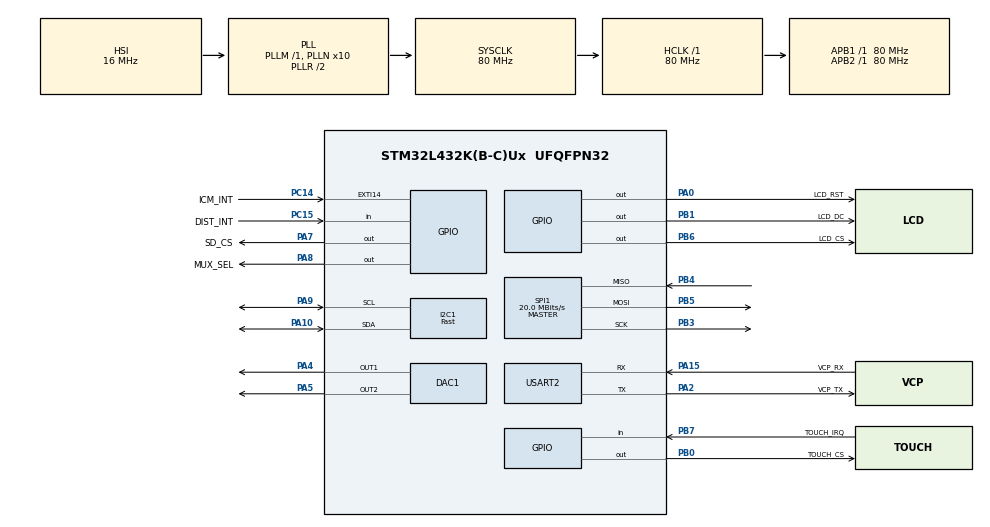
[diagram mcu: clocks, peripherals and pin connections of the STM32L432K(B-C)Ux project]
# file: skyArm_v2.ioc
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ADC1.Channel-0\#ChannelRegularConversion=ADC_CHANNEL_VREFINT
ADC1.ClockPrescaler=ADC_CLOCK_SYNC_PCLK_DIV4
ADC1.ContinuousConvMode=DISABLE
ADC1.DMAContinuousRequests=DISABLE
ADC1.DiscontinuousConvMode=DISABLE
ADC1.EOCSelection=ADC_EOC_SEQ_CONV
ADC1.NbrOfConversion=1
ADC1.NbrOfConversionFlag=1
ADC1.OffsetNumber-0\#ChannelRegularConversion=ADC_OFFSET_NONE
ADC1.Overrun=ADC_OVR_DATA_OVERWRITTEN
ADC1.OversamplingMode=DISABLE
ADC1.Rank-0\#ChannelRegularConversion=1
ADC1.Resolution=ADC_RESOLUTION_12B
ADC1.SamplingTime-0\#ChannelRegularConversion=ADC_SAMPLETIME_640CYCLES_5
ADC1.master=1
DAC1.DAC_Channel-DAC_OUT2=DAC_CHANNEL_2
Dma.ADC1.1.Direction=DMA_PERIPH_TO_MEMORY
Dma.ADC1.1.Instance=DMA1_Channel1
Dma.ADC1.1.MemDataAlignment=DMA_MDATAALIGN_WORD
Dma.ADC1.1.MemInc=DMA_MINC_ENABLE
Dma.ADC1.1.Mode=DMA_CIRCULAR
Dma.ADC1.1.PeriphDataAlignment=DMA_PDATAALIGN_WORD
Dma.ADC1.1.PeriphInc=DMA_PINC_DISABLE
Dma.ADC1.1.Priority=DMA_PRIORITY_LOW
Dma.Request0=SPI1_TX
Dma.Request1=ADC1
Dma.SPI1_TX.0.Direction=DMA_MEMORY_TO_PERIPH
Dma.SPI1_TX.0.Instance=DMA1_Channel3
Dma.SPI1_TX.0.MemDataAlignment=DMA_MDATAALIGN_BYTE
Dma.SPI1_TX.0.MemInc=DMA_MINC_ENABLE
Dma.SPI1_TX.0.Mode=DMA_NORMAL
Dma.SPI1_TX.0.PeriphDataAlignment=DMA_PDATAALIGN_BYTE
Dma.SPI1_TX.0.PeriphInc=DMA_PINC_DISABLE
Dma.SPI1_TX.0.Priority=DMA_PRIORITY_LOW
FATFS._FS_LOCK=5
I2C1.I2C_Speed_Mode=I2C_Fast
I2C1.Timing=0x00702991
Mcu.Family=STM32L4
Mcu.Name=STM32L432K(B-C)Ux
Mcu.Package=UFQFPN32
NVIC.ADC1_IRQn=true\:0\:0\:false\:false\:true\:true\:true\:true
NVIC.DMA1_Channel1_IRQn=true\:0\:0\:false\:false\:true\:false\:true\:true
NVIC.DMA1_Channel3_IRQn=true\:0\:0\:false\:false\:true\:false\:true\:true
NVIC.EXTI15_10_IRQn=true\:0\:0\:false\:false\:true\:true\:true\:true
NVIC.PriorityGroup=NVIC_PRIORITYGROUP_4
NVIC.SPI1_IRQn=true\:0\:0\:false\:false\:true\:true\:true\:true
NVIC.TIM1_UP_TIM16_IRQn=true\:0\:0\:false\:false\:true\:true\:true\:true
NVIC.TIM2_IRQn=true\:0\:0\:false\:false\:true\:true\:true\:true
PA0.GPIO_Label=LCD_RST
PA0.GPIO_PuPd=GPIO_PULLUP
PA0.GPIO_Speed=GPIO_SPEED_FREQ_VERY_HIGH
PA0.Signal=GPIO_Output
PA10.GPIO_Pu=GPIO_NOPULL
PA10.Mode=I2C
PA10.Signal=I2C1_SDA
PA13\ (JTMS-SWDIO).GPIO_Label=SWDIO
PA13\ (JTMS-SWDIO).Mode=Serial_Wire
PA13\ (JTMS-SWDIO).Signal=SYS_JTMS-SWDIO
PA14\ (JTCK-SWCLK).GPIO_Label=SWCLK
PA14\ (JTCK-SWCLK).Mode=Serial_Wire
PA14\ (JTCK-SWCLK).Signal=SYS_JTCK-SWCLK
PA15\ (JTDI).GPIO_Label=VCP_RX
PA15\ (JTDI).Mode=Asynchronous
PA15\ (JTDI).Signal=USART2_RX
PA2.GPIO_Label=VCP_TX
PA2.Mode=Asynchronous
PA2.Signal=USART2_TX
PA4.Signal=COMP_DAC11_group
PA5.Signal=COMP_DAC12_group
PA7.GPIO_Label=SD_CS
PA7.GPIO_PuPd=GPIO_PULLUP
PA7.GPIO_Speed=GPIO_SPEED_FREQ_VERY_HIGH
PA7.Signal=GPIO_Output
PA8.GPIO_Label=MUX_SEL
PA8.Signal=GPIO_Output
PA9.GPIO_Pu=GPIO_NOPULL
PA9.Mode=I2C
PA9.Signal=I2C1_SCL
PB0.GPIO_Label=TOUCH_CS
PB0.GPIO_PuPd=GPIO_PULLUP
PB0.GPIO_Speed=GPIO_SPEED_FREQ_VERY_HIGH
PB0.Signal=GPIO_Output
PB1.GPIO_Label=LCD_DC
PB1.GPIO_PuPd=GPIO_NOPULL
PB1.GPIO_Speed=GPIO_SPEED_FREQ_VERY_HIGH
PB1.Signal=GPIO_Output
PB3\ (JTDO-TRACESWO).GPIO_PuPd=GPIO_PULLUP
PB3\ (JTDO-TRACESWO).Mode=Full_Duplex_Master
PB3\ (JTDO-TRACESWO).Signal=SPI1_SCK
PB4\ (NJTRST).GPIO_PuPd=GPIO_PULLUP
PB4\ (NJTRST).Mode=Full_Duplex_Master
PB4\ (NJTRST).Signal=SPI1_MISO
PB5.GPIO_PuPd=GPIO_PULLUP
PB5.Mode=Full_Duplex_Master
PB5.Signal=SPI1_MOSI
PB6.GPIO_FM6=__NULL
PB6.GPIO_Label=LCD_CS
PB6.GPIO_PuPd=GPIO_PULLUP
PB6.GPIO_Speed=GPIO_SPEED_FREQ_VERY_HIGH
PB6.Signal=GPIO_Output
PB7.GPIO_Label=TOUCH_IRQ
PB7.Signal=GPIO_Input
PC14-OSC32_IN\ (PC14).GPIO_Label=ICM_INT
PC14-OSC32_IN\ (PC14).Signal=GPXTI14
PC15-OSC32_OUT\ (PC15).GPIO_Label=DIST_INT
PC15-OSC32_OUT\ (PC15).Signal=GPIO_Input
ProjectManager.HeapSize=0x200
ProjectManager.StackSize=0x400
ProjectManager.TargetToolchain=STM32CubeIDE
RCC.ADCFreq_Value=64000000
RCC.AHBFreq_Value=80000000
RCC.APB1Freq_Value=80000000
RCC.APB1TimFreq_Value=80000000
RCC.APB2Freq_Value=80000000
RCC.APB2TimFreq_Value=80000000
RCC.CK48CLockSelection=RCC_USBCLKSOURCE_HSI48
RCC.CortexFreq_Value=80000000
RCC.HCLKFreq_Value=80000000
RCC.HSE_VALUE=8000000
RCC.HSI16_VALUE=16000000
RCC.HSI48_VALUE=48000000
RCC.HSI_VALUE=16000000
RCC.LSE_VALUE=32768
RCC.MSI_VALUE=4000000
RCC.PLLMUL=RCC_PLLMUL_4
RCC.PLLN=10
RCC.PLLSourceVirtual=RCC_PLLSOURCE_HSI
RCC.SYSCLKFreq_VALUE=80000000
RCC.SYSCLKSource=RCC_SYSCLKSOURCE_PLLCLK
RCC.USBFreq_Value=48000000
RCC.VCOOutputFreq_Value=160000000
SH.COMP_DAC11_group.0=DAC1_OUT1,DAC_OUT1
SH.COMP_DAC12_group.0=DAC1_OUT2,DAC_OUT2
SPI1.BaudRatePrescaler=SPI_BAUDRATEPRESCALER_4
SPI1.CalculateBaudRate=20.0 MBits/s
SPI1.DataSize=SPI_DATASIZE_8BIT
SPI1.Direction=SPI_DIRECTION_2LINES
SPI1.Mode=SPI_MODE_MASTER
SPI1.VirtualType=VM_MASTER
TIM16.Period=2000-1
TIM16.Prescaler=40000-1
TIM2.Period=999
TIM2.Prescaler=79
TIM6.Prescaler=79
USART2.VirtualMode-Asynchronous=VM_ASYNC
VP_ADC1_Vref_Input.Mode=IN-Vrefint
VP_FATFS_VS_Generic.Mode=User_defined
VP_TIM16_VS_ClockSourceINT.Mode=Enable_Timer
VP_TIM2_VS_ClockSourceINT.Mode=Internal
VP_TIM6_VS_ClockSourceINT.Mode=Enable_Timer
board=NUCLEO-L432KC

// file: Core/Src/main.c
/* USER CODE BEGIN Header */
/**
 ******************************************************************************
 * @file           : main.c
 * @brief          : Main program body
 ******************************************************************************
 * @attention
 *
 * Copyright (c) 2022 STMicroelectronics.
 * All rights reserved.
 *
 * This software is licensed under terms that can be found in the LICENSE file
 * in the root directory of this software component.
 * If no LICENSE file comes with this software, it is provided AS-IS.
 *
 ******************************************************************************
 */
/* USER CODE END Header */
#include "main.h"
#include "fatfs.h"

/* USER CODE BEGIN Includes */
#include "Invn/Devices/DeviceIcm20948.h"
#include "Invn/EmbUtils/Message.h"
#include "I2CSerifHal.h"
#include "timerDelay.h"
#include <math.h>
#include <stdio.h>
#include "retarget.h"
#include "vl53l1x_api.h"
#include "vl53l1x_calibration.h"
#include "vl53l1_error_codes.h"
#include "screen.h"
#include "filesLib.h"
/* USER CODE END Includes */

/* USER CODE BEGIN PD */
#define DIST_SAMPLES 10
/* USER CODE END PD */

ADC_HandleTypeDef hadc1;
DMA_HandleTypeDef hdma_adc1;

DAC_HandleTypeDef hdac1;

I2C_HandleTypeDef hi2c1;

SPI_HandleTypeDef hspi1;
DMA_HandleTypeDef hdma_spi1_tx;

TIM_HandleTypeDef htim2;
TIM_HandleTypeDef htim6;
TIM_HandleTypeDef htim16;

UART_HandleTypeDef huart2;

void SystemClock_Config(void);
static void MX_GPIO_Init(void);
static void MX_USART2_UART_Init(void);
static void MX_ADC1_Init(void);
static void MX_I2C1_Init(void);
static void MX_DMA_Init(void);
static void MX_TIM6_Init(void);
static void MX_DAC1_Init(void);
static void MX_TIM2_Init(void);
static void MX_SPI1_Init(void);
static void MX_TIM16_Init(void);
/* USER CODE BEGIN PFP */
static void initDACZero(void);
static float updateMean(uint16_t dist, uint16_t* distArr, uint32_t distArrLen);
static inv_device_t* initICM20948(void);
static VL53L1X_ERROR initVL53L1X(void);
static void msgPrinter(int level, const char * str, va_list ap);
static void sensor_event_cb(const inv_sensor_event_t * event, void * arg);
void check_rc(int rc);
/* USER CODE END PFP */

/* USER CODE BEGIN 0 */
static const uint8_t dmp3_image[] = {
#include "Invn/Images/icm20948_img.dmp3a.h"
};
inv_device_icm20948_t imu;
static const inv_sensor_listener_t sensor_listener = {sensor_event_cb, 0};
uint16_t vl53l1xDev = 0x52;
float q[4] = {0.0, 0.0, 0.0, 0.0};
float a[4] = {0.0, 0.0, 0.0, 0.0};
//float g[4] = {0.0, 0.0, 0.0, 0.0};
float m[4] = {0.0, 0.0, 0.0, 0.0};
uint8_t aQ = 0;
uint8_t aA = 0;
//uint8_t aG = 0;
uint8_t aM = 0;
volatile float phi = 0.0, theta = 0.0, psi = 0.0;
volatile float phiRel = 0.0, thetaRel = 0.0, psiRel = 0.0;
volatile float phiZero = 0.0, thetaZero = 0.0;
uint16_t dist = 0;
int16_t distOffset = 0;
uint16_t distXtalk = 0;
volatile uint32_t distToDAC = 0;
volatile uint32_t angToDAC[2] = { 0, 0 };
volatile float angToLCD[2] = { 0.0, 0.0 };
volatile float distToDisp = 0.0;
volatile uint8_t dacIndex = 0;
uint8_t distStatus = 0;
uint8_t distPresent = 0;
uint8_t sdMounted = 0;
uint8_t logEnabled = 0;
uint8_t screenOrient = DISP_ORIENTATION;
screen_t menu;
FIL tileFile;
FIL barFile;
uint8_t imgBuf[BAR_SIZE];
char logStr[LOGSTR_LEN] = "";
char uartStr[UARTSTR_LEN] = "";
char timeStr[TIMESTR_LEN] = "";
volatile uint8_t hours = 0, minutes = 0, seconds = 0;
volatile uint8_t dumpLogEnabled = 0;
volatile uint8_t acqPaused = 0;
volatile uint8_t monitorEnabled = 1;
uint32_t config[CFG_WORDS] = {0, 0, 0, 0, 0};
uint32_t defConfig[CFG_WORDS] = {0, 0, 0, ILI9341_ROTATION_R};
volatile int32_t zeroFeedback[2] = {0, 0};
uint32_t adcData = 0;
uint8_t distDataReady = 0;
volatile float vref = 0.0;
volatile uint16_t* vrefCal = (uint16_t*)VREFINTCAL_ADDR;
volatile uint8_t dacConverted = 0;
uint16_t distArray[DIST_SAMPLES];
volatile uint16_t distMode = VL53L1X_SHORT_DIST_MODE;
uint8_t rangeStatus = 0;

/* USER CODE END 0 */

int main(void)
{
    /* USER CODE BEGIN 1 */
    int rc = 0;
    inv_device_t* device;
    uint8_t distStatus = 0;

    FATFS FatFs;
    FRESULT fres;

    uint16_t touchX = 0;
    uint16_t touchY = 0;
    uint16_t dispX = 0;
    uint16_t dispY = 0;
    uint8_t zone = HOME;
    bool validCoord;
    /* USER CODE END 1 */

    /* MCU Configuration--------------------------------------------------------*/

    /* Reset of all peripherals, Initializes the Flash interface and the Systick. */
    HAL_Init();

    /* Configure the system clock */
    SystemClock_Config();

    /* Initialize all configured peripherals */
    MX_GPIO_Init();
    MX_USART2_UART_Init();
    MX_ADC1_Init();
    MX_I2C1_Init();
    MX_DMA_Init();
    MX_TIM6_Init();
    MX_DAC1_Init();
    MX_TIM2_Init();
    MX_SPI1_Init();
    MX_FATFS_Init();
    MX_TIM16_Init();
    /* USER CODE BEGIN 2 */
    RetargetInit(&huart2);

    memset(distArray, 0, DIST_SAMPLES*sizeof(uint16_t));

    ILI9341_Unselect();
    ILI9341_TouchUnselect();
    ILI9341_Init();

    HAL_Delay(1000);

    fres = f_mount(&FatFs, "", 1);
    if(fres != FR_OK){
        printf("Cannot mount SD card...\n");
        sdMounted = 0;
        ILI9341_SetOrientation(screenOrient);
    }else{
        sdMounted = 1;
    }

    printf("PICOBARN\nLoading...\n");

    INV_MSG_SETUP(INV_MSG_LEVEL_MAX,msgPrinter);

    printf("Starting distance sensor...\n");

    distStatus = initVL53L1X();

    if(distStatus != -1){
        printf("Start ranging...\n");
        VL53L1X_StartRanging(vl53l1xDev);
        printf("Ranging started!\n");
    }else
        printf("Cannot start ranging...\n");

    printf("Starting 9 axis IMU...\n");

    device = initICM20948();

    HAL_TIM_Base_Start(&htim6);
    HAL_TIM_Base_Start_IT(&htim2);
    HAL_TIM_Base_Start_IT(&htim16);

    HAL_DAC_Start(&hdac1, DAC1_CHANNEL_1);
    HAL_DAC_Start(&hdac1, DAC1_CHANNEL_2);

    initDACZero();

    printf("All started, ready to go\n");

    if(sdMounted){
        readConfig(config);
        memcpy((void*)&distOffset, (void*)&config[DISTCAL_IDX], sizeof(uint16_t));
        memcpy((void*)&thetaZero, (void*)&config[THETAZERO_IDX], sizeof(float));
        memcpy((void*)&phiZero, (void*)&config[PHIZERO_IDX], sizeof(float));
        memcpy((void*)&screenOrient, (void*)&config[SORIENT_IDX], sizeof(uint8_t));
        memcpy((void*)&distXtalk, (void*)&config[DISTXTALK_IDX], sizeof(uint16_t));

        VL53L1X_StopRanging(vl53l1xDev);
        VL53L1X_SetOffset(vl53l1xDev,distOffset);
        VL53L1X_SetXtalk(vl53l1xDev, distXtalk);
        VL53L1X_StartRanging(vl53l1xDev);

        f_open(&barFile, "bar.bmp", FA_READ);
        f_open(&tileFile, "tls.bmp", FA_READ);

        ILI9341_SetOrientation(screenOrient);

        drawBar(&barFile, imgBuf);

        resetLog();
    }

    initScreen(&menu);

    /* USER CODE END 2 */

    /* Infinite loop */
    while (1)
    {

        /* USER CODE BEGIN 3 */

        memset(timeStr, '\0', TIMESTR_LEN);
        rc = snprintf(timeStr, TIMESTR_LEN, "[%02d:%02d:%02d]", hours, minutes, seconds);
        if(rc < 0)
            printf("Truncating timestamp %s", timeStr);

        if(ILI9341_TouchPressed()){
            validCoord = ILI9341_TouchGetCoordinates(&touchX, &touchY);

            transformCoord(touchX, touchY, &dispX, &dispY, screenOrient, validCoord);

            zone = getZonePressed(dispX, dispY);

            updateScreen(&menu, zone);
        }

        menu.screenFuncPtr();

        if(!acqPaused){
            float distMean = 0.0;

            if(distStatus != -1){
                VL53L1X_CheckForDataReady(vl53l1xDev, &distDataReady);
                if(distDataReady == 1){
                    distDataReady = 0;

                    VL53L1X_GetDistance(vl53l1xDev, &dist);
                    VL53L1X_GetRangeStatus(vl53l1xDev, &rangeStatus);

                    distMean = updateMean(dist, distArray, DIST_SAMPLES);

                    if(dist < DIST_MODE_THRESHOLD && (distMode == VL53L1X_LONG_DIST_MODE)){
                        distMode = VL53L1X_SHORT_DIST_MODE;
                        VL53L1X_StopRanging(vl53l1xDev);
                        VL53L1X_SetDistanceMode(vl53l1xDev, distMode);
                        VL53L1X_StartRanging(vl53l1xDev);
                    }else if(dist > DIST_MODE_THRESHOLD && (distMode == VL53L1X_SHORT_DIST_MODE)){
                        distMode = VL53L1X_LONG_DIST_MODE;
                        VL53L1X_StopRanging(vl53l1xDev);
                        VL53L1X_SetDistanceMode(vl53l1xDev, distMode);
                        VL53L1X_StartRanging(vl53l1xDev);
                    }

                    distToDisp = distMean/1000.0;

                    distToDAC = (distMean >= VL53L1X_MAX_DISTANCE) ?
                            0 : DAC_MAX-((distMean*DAC_MAX)/VL53L1X_MAX_DISTANCE);
                }
            }

            rc = inv_device_poll(device);
            check_rc(rc);

            snprintf(uartStr, UARTSTR_LEN,
                     "$phi=%03.2f,theta=%03.2f,dist=%01.3f,"
                     "q0=%03.2f,q1=%03.2f,q2=%03.2f,q3=%03.2f,"
                     "ax=%03.2f,ay=%03.2f,az=%03.2f,"
//                     "gx=%03.2f,gy=%03.2f,gz=%03.2f,"
                     "mx=%03.2f,my=%03.2f,mz=%03.2f\n",
                     phi,theta,distToDisp,
                     q[0],q[1],q[2],q[3],
                     a[0],a[1],a[2],
//                     g[0],g[1],g[2],
                     m[0],m[1],m[2]);//,

            if(monitorEnabled)
                printf("%s",uartStr);
        }

        if(sdMounted && logEnabled){
            memset(logStr, '\0', LOGSTR_LEN);
            strncat(logStr, timeStr, TIMESTR_LEN);
            strncat(logStr, uartStr, UARTSTR_LEN);

            writeLog(logStr);
        }
    }
    /* USER CODE END 3 */
}

void SystemClock_Config(void)
{
    RCC_OscInitTypeDef RCC_OscInitStruct = {0};
    RCC_ClkInitTypeDef RCC_ClkInitStruct = {0};

    /** Configure the main internal regulator output voltage
     */
    if (HAL_PWREx_ControlVoltageScaling(PWR_REGULATOR_VOLTAGE_SCALE1) != HAL_OK)
    {
        Error_Handler();
    }

    /** Initializes the RCC Oscillators according to the specified parameters
     * in the RCC_OscInitTypeDef structure.
     */
    RCC_OscInitStruct.OscillatorType = RCC_OSCILLATORTYPE_HSI;
    RCC_OscInitStruct.HSIState = RCC_HSI_ON;
    RCC_OscInitStruct.HSICalibrationValue = RCC_HSICALIBRATION_DEFAULT;
    RCC_OscInitStruct.PLL.PLLState = RCC_PLL_ON;
    RCC_OscInitStruct.PLL.PLLSource = RCC_PLLSOURCE_HSI;
    RCC_OscInitStruct.PLL.PLLM = 1;
    RCC_OscInitStruct.PLL.PLLN = 10;
    RCC_OscInitStruct.PLL.PLLP = RCC_PLLP_DIV7;
    RCC_OscInitStruct.PLL.PLLQ = RCC_PLLQ_DIV2;
    RCC_OscInitStruct.PLL.PLLR = RCC_PLLR_DIV2;
    if (HAL_RCC_OscConfig(&RCC_OscInitStruct) != HAL_OK)
    {
        Error_Handler();
    }

    /** Initializes the CPU, AHB and APB buses clocks
     */
    RCC_ClkInitStruct.ClockType = RCC_CLOCKTYPE_HCLK|RCC_CLOCKTYPE_SYSCLK
            |RCC_CLOCKTYPE_PCLK1|RCC_CLOCKTYPE_PCLK2;
    RCC_ClkInitStruct.SYSCLKSource = RCC_SYSCLKSOURCE_PLLCLK;
    RCC_ClkInitStruct.AHBCLKDivider = RCC_SYSCLK_DIV1;
    RCC_ClkInitStruct.APB1CLKDivider = RCC_HCLK_DIV1;
    RCC_ClkInitStruct.APB2CLKDivider = RCC_HCLK_DIV1;

    if (HAL_RCC_ClockConfig(&RCC_ClkInitStruct, FLASH_LATENCY_4) != HAL_OK)
    {
        Error_Handler();
    }
}

static void MX_ADC1_Init(void)
{

    ADC_ChannelConfTypeDef sConfig = {0};

    /** Common config
     */
    hadc1.Instance = ADC1;
    hadc1.Init.ClockPrescaler = ADC_CLOCK_SYNC_PCLK_DIV4;
    hadc1.Init.Resolution = ADC_RESOLUTION_12B;
    hadc1.Init.DataAlign = ADC_DATAALIGN_RIGHT;
    hadc1.Init.ScanConvMode = ADC_SCAN_DISABLE;
    hadc1.Init.EOCSelection = ADC_EOC_SEQ_CONV;
    hadc1.Init.LowPowerAutoWait = DISABLE;
    hadc1.Init.ContinuousConvMode = DISABLE;
    hadc1.Init.NbrOfConversion = 1;
    hadc1.Init.DiscontinuousConvMode = DISABLE;
    hadc1.Init.ExternalTrigConv = ADC_SOFTWARE_START;
    hadc1.Init.ExternalTrigConvEdge = ADC_EXTERNALTRIGCONVEDGE_NONE;
    hadc1.Init.DMAContinuousRequests = DISABLE;
    hadc1.Init.Overrun = ADC_OVR_DATA_OVERWRITTEN;
    hadc1.Init.OversamplingMode = DISABLE;
    if (HAL_ADC_Init(&hadc1) != HAL_OK)
    {
        Error_Handler();
    }

    /** Configure Regular Channel
     */
    sConfig.Channel = ADC_CHANNEL_VREFINT;
    sConfig.Rank = ADC_REGULAR_RANK_1;
    sConfig.SamplingTime = ADC_SAMPLETIME_640CYCLES_5;
    sConfig.SingleDiff = ADC_SINGLE_ENDED;
    sConfig.OffsetNumber = ADC_OFFSET_NONE;
    sConfig.Offset = 0;
    if (HAL_ADC_ConfigChannel(&hadc1, &sConfig) != HAL_OK)
    {
        Error_Handler();
    }

}

static void MX_DAC1_Init(void)
{

    DAC_ChannelConfTypeDef sConfig = {0};

    /** DAC Initialization
     */
    hdac1.Instance = DAC1;
    if (HAL_DAC_Init(&hdac1) != HAL_OK)
    {
        Error_Handler();
    }

    /** DAC channel OUT1 config
     */
    sConfig.DAC_SampleAndHold = DAC_SAMPLEANDHOLD_DISABLE;
    sConfig.DAC_Trigger = DAC_TRIGGER_NONE;
    sConfig.DAC_OutputBuffer = DAC_OUTPUTBUFFER_ENABLE;
    sConfig.DAC_ConnectOnChipPeripheral = DAC_CHIPCONNECT_DISABLE;
    sConfig.DAC_UserTrimming = DAC_TRIMMING_FACTORY;
    if (HAL_DAC_ConfigChannel(&hdac1, &sConfig, DAC_CHANNEL_1) != HAL_OK)
    {
        Error_Handler();
    }

    /** DAC channel OUT2 config
     */
    if (HAL_DAC_ConfigChannel(&hdac1, &sConfig, DAC_CHANNEL_2) != HAL_OK)
    {
        Error_Handler();
    }

}

static void MX_I2C1_Init(void)
{

    hi2c1.Instance = I2C1;
    hi2c1.Init.Timing = 0x00702991;
    hi2c1.Init.OwnAddress1 = 0;
    hi2c1.Init.AddressingMode = I2C_ADDRESSINGMODE_7BIT;
    hi2c1.Init.DualAddressMode = I2C_DUALADDRESS_DISABLE;
    hi2c1.Init.OwnAddress2 = 0;
    hi2c1.Init.OwnAddress2Masks = I2C_OA2_NOMASK;
    hi2c1.Init.GeneralCallMode = I2C_GENERALCALL_DISABLE;
    hi2c1.Init.NoStretchMode = I2C_NOSTRETCH_DISABLE;
    if (HAL_I2C_Init(&hi2c1) != HAL_OK)
    {
        Error_Handler();
    }

    /** Configure Analogue filter
     */
    if (HAL_I2CEx_ConfigAnalogFilter(&hi2c1, I2C_ANALOGFILTER_ENABLE) != HAL_OK)
    {
        Error_Handler();
    }

    /** Configure Digital filter
     */
    if (HAL_I2CEx_ConfigDigitalFilter(&hi2c1, 0) != HAL_OK)
    {
        Error_Handler();
    }

}

static void MX_SPI1_Init(void)
{

    /* SPI1 parameter configuration*/
    hspi1.Instance = SPI1;
    hspi1.Init.Mode = SPI_MODE_MASTER;
    hspi1.Init.Direction = SPI_DIRECTION_2LINES;
    hspi1.Init.DataSize = SPI_DATASIZE_8BIT;
    hspi1.Init.CLKPolarity = SPI_POLARITY_LOW;
    hspi1.Init.CLKPhase = SPI_PHASE_1EDGE;
    hspi1.Init.NSS = SPI_NSS_SOFT;
    hspi1.Init.BaudRatePrescaler = SPI_BAUDRATEPRESCALER_4;
    hspi1.Init.FirstBit = SPI_FIRSTBIT_MSB;
    hspi1.Init.TIMode = SPI_TIMODE_DISABLE;
    hspi1.Init.CRCCalculation = SPI_CRCCALCULATION_DISABLE;
    hspi1.Init.CRCPolynomial = 7;
    hspi1.Init.CRCLength = SPI_CRC_LENGTH_DATASIZE;
    hspi1.Init.NSSPMode = SPI_NSS_PULSE_ENABLE;
    if (HAL_SPI_Init(&hspi1) != HAL_OK)
    {
        Error_Handler();
    }

}

static void MX_TIM2_Init(void)
{

    TIM_ClockConfigTypeDef sClockSourceConfig = {0};
    TIM_MasterConfigTypeDef sMasterConfig = {0};

    htim2.Instance = TIM2;
    htim2.Init.Prescaler = 79;
    htim2.Init.CounterMode = TIM_COUNTERMODE_UP;
    htim2.Init.Period = 999;
    htim2.Init.ClockDivision = TIM_CLOCKDIVISION_DIV1;
    htim2.Init.AutoReloadPreload = TIM_AUTORELOAD_PRELOAD_DISABLE;
    if (HAL_TIM_Base_Init(&htim2) != HAL_OK)
    {
        Error_Handler();
    }
    sClockSourceConfig.ClockSource = TIM_CLOCKSOURCE_INTERNAL;
    if (HAL_TIM_ConfigClockSource(&htim2, &sClockSourceConfig) != HAL_OK)
    {
        Error_Handler();
    }
    sMasterConfig.MasterOutputTrigger = TIM_TRGO_RESET;
    sMasterConfig.MasterSlaveMode = TIM_MASTERSLAVEMODE_DISABLE;
    if (HAL_TIMEx_MasterConfigSynchronization(&htim2, &sMasterConfig) != HAL_OK)
    {
        Error_Handler();
    }

}

static void MX_TIM6_Init(void)
{

    TIM_MasterConfigTypeDef sMasterConfig = {0};

    htim6.Instance = TIM6;
    htim6.Init.Prescaler = 79;
    htim6.Init.CounterMode = TIM_COUNTERMODE_UP;
    htim6.Init.Period = 65535;
    htim6.Init.AutoReloadPreload = TIM_AUTORELOAD_PRELOAD_DISABLE;
    if (HAL_TIM_Base_Init(&htim6) != HAL_OK)
    {
        Error_Handler();
    }
    sMasterConfig.MasterOutputTrigger = TIM_TRGO_RESET;
    sMasterConfig.MasterSlaveMode = TIM_MASTERSLAVEMODE_DISABLE;
    if (HAL_TIMEx_MasterConfigSynchronization(&htim6, &sMasterConfig) != HAL_OK)
    {
        Error_Handler();
    }

}

static void MX_TIM16_Init(void)
{

    htim16.Instance = TIM16;
    htim16.Init.Prescaler = 40000-1;
    htim16.Init.CounterMode = TIM_COUNTERMODE_UP;
    htim16.Init.Period = 2000-1;
    htim16.Init.ClockDivision = TIM_CLOCKDIVISION_DIV1;
    htim16.Init.RepetitionCounter = 0;
    htim16.Init.AutoReloadPreload = TIM_AUTORELOAD_PRELOAD_DISABLE;
    if (HAL_TIM_Base_Init(&htim16) != HAL_OK)
    {
        Error_Handler();
    }

}

static void MX_USART2_UART_Init(void)
{

    huart2.Instance = USART2;
    huart2.Init.BaudRate = 115200;
    huart2.Init.WordLength = UART_WORDLENGTH_8B;
    huart2.Init.StopBits = UART_STOPBITS_1;
    huart2.Init.Parity = UART_PARITY_NONE;
    huart2.Init.Mode = UART_MODE_TX_RX;
    huart2.Init.HwFlowCtl = UART_HWCONTROL_NONE;
    huart2.Init.OverSampling = UART_OVERSAMPLING_16;
    huart2.Init.OneBitSampling = UART_ONE_BIT_SAMPLE_DISABLE;
    huart2.AdvancedInit.AdvFeatureInit = UART_ADVFEATURE_NO_INIT;
    if (HAL_UART_Init(&huart2) != HAL_OK)
    {
        Error_Handler();
    }

}

static void MX_DMA_Init(void)
{

    /* DMA controller clock enable */
    __HAL_RCC_DMA1_CLK_ENABLE();

    /* DMA interrupt init */
    /* DMA1_Channel1_IRQn interrupt configuration */
    HAL_NVIC_SetPriority(DMA1_Channel1_IRQn, 0, 0);
    HAL_NVIC_EnableIRQ(DMA1_Channel1_IRQn);
    /* DMA1_Channel3_IRQn interrupt configuration */
    HAL_NVIC_SetPriority(DMA1_Channel3_IRQn, 0, 0);
    HAL_NVIC_EnableIRQ(DMA1_Channel3_IRQn);

}

static void MX_GPIO_Init(void)
{
    GPIO_InitTypeDef GPIO_InitStruct = {0};

    /* GPIO Ports Clock Enable */
    __HAL_RCC_GPIOC_CLK_ENABLE();
    __HAL_RCC_GPIOA_CLK_ENABLE();
    __HAL_RCC_GPIOB_CLK_ENABLE();

    /*Configure GPIO pin Output Level */
    HAL_GPIO_WritePin(GPIOA, LCD_RST_Pin|SD_CS_Pin|MUX_SEL_Pin, GPIO_PIN_RESET);

    /*Configure GPIO pin Output Level */
    HAL_GPIO_WritePin(GPIOB, TOUCH_CS_Pin|LCD_DC_Pin|LCD_CS_Pin, GPIO_PIN_RESET);

    /*Configure GPIO pin : ICM_INT_Pin */
    GPIO_InitStruct.Pin = ICM_INT_Pin;
    GPIO_InitStruct.Mode = GPIO_MODE_IT_RISING;
    GPIO_InitStruct.Pull = GPIO_NOPULL;
    HAL_GPIO_Init(ICM_INT_GPIO_Port, &GPIO_InitStruct);

    /*Configure GPIO pin : DIST_INT_Pin */
    GPIO_InitStruct.Pin = DIST_INT_Pin;
    GPIO_InitStruct.Mode = GPIO_MODE_INPUT;
    GPIO_InitStruct.Pull = GPIO_NOPULL;
    HAL_GPIO_Init(DIST_INT_GPIO_Port, &GPIO_InitStruct);

    /*Configure GPIO pins : LCD_RST_Pin SD_CS_Pin */
    GPIO_InitStruct.Pin = LCD_RST_Pin|SD_CS_Pin;
    GPIO_InitStruct.Mode = GPIO_MODE_OUTPUT_PP;
    GPIO_InitStruct.Pull = GPIO_PULLUP;
    GPIO_InitStruct.Speed = GPIO_SPEED_FREQ_VERY_HIGH;
    HAL_GPIO_Init(GPIOA, &GPIO_InitStruct);

    /*Configure GPIO pins : TOUCH_CS_Pin LCD_CS_Pin */
    GPIO_InitStruct.Pin = TOUCH_CS_Pin|LCD_CS_Pin;
    GPIO_InitStruct.Mode = GPIO_MODE_OUTPUT_PP;
    GPIO_InitStruct.Pull = GPIO_PULLUP;
    GPIO_InitStruct.Speed = GPIO_SPEED_FREQ_VERY_HIGH;
    HAL_GPIO_Init(GPIOB, &GPIO_InitStruct);

    /*Configure GPIO pin : LCD_DC_Pin */
    GPIO_InitStruct.Pin = LCD_DC_Pin;
    GPIO_InitStruct.Mode = GPIO_MODE_OUTPUT_PP;
    GPIO_InitStruct.Pull = GPIO_NOPULL;
    GPIO_InitStruct.Speed = GPIO_SPEED_FREQ_VERY_HIGH;
    HAL_GPIO_Init(LCD_DC_GPIO_Port, &GPIO_InitStruct);

    /*Configure GPIO pin : MUX_SEL_Pin */
    GPIO_InitStruct.Pin = MUX_SEL_Pin;
    GPIO_InitStruct.Mode = GPIO_MODE_OUTPUT_PP;
    GPIO_InitStruct.Pull = GPIO_NOPULL;
    GPIO_InitStruct.Speed = GPIO_SPEED_FREQ_LOW;
    HAL_GPIO_Init(MUX_SEL_GPIO_Port, &GPIO_InitStruct);

    /*Configure GPIO pin : TOUCH_IRQ_Pin */
    GPIO_InitStruct.Pin = TOUCH_IRQ_Pin;
    GPIO_InitStruct.Mode = GPIO_MODE_INPUT;
    GPIO_InitStruct.Pull = GPIO_NOPULL;
    HAL_GPIO_Init(TOUCH_IRQ_GPIO_Port, &GPIO_InitStruct);

    /* EXTI interrupt init*/
    HAL_NVIC_SetPriority(EXTI15_10_IRQn, 0, 0);
    HAL_NVIC_EnableIRQ(EXTI15_10_IRQn);

}

/* USER CODE BEGIN 4 */

void HAL_ADC_ConvCpltCallback(ADC_HandleTypeDef *hadc)
{
    vref = *vrefCal*3.3/adcData;

    dacConverted = 1;
}

static void initDACZero(){
    // get vref
    HAL_ADC_Start_DMA(&hadc1, &adcData, 1);
    while(!dacConverted){}
    HAL_ADC_Stop_DMA(&hadc1);
}

static float updateMean(uint16_t dist, uint16_t* distArr, uint32_t distArrLen){
    float mean = 0.0;

    for(int i = 0; i < distArrLen-1; i++){
        distArr[i] = distArr[i+1];
    }

    distArr[distArrLen-1] = dist;

    for(int i = 0; i < distArrLen; i++)
        mean += (float)distArr[i];

    mean /= distArrLen;

    return mean;
}

void HAL_TIM_PeriodElapsedCallback(TIM_HandleTypeDef *htim){
    if(htim->Instance == TIM2 && !acqPaused){
        dacIndex = (~dacIndex) & 1;
        HAL_GPIO_TogglePin(MUX_SEL_GPIO_Port, MUX_SEL_Pin);
        HAL_DAC_SetValue(&hdac1, DAC_CHANNEL_2, DAC_ALIGN_12B_R,
                         angToDAC[1-dacIndex]);
        HAL_DAC_SetValue(&hdac1, DAC_CHANNEL_1, DAC_ALIGN_12B_R,
                         distToDAC);

    }else if(htim->Instance == TIM16){
        if(++seconds == 60){
            seconds = 0;
            minutes++;
        }

        if(minutes == 60){
            minutes = 0;
            hours++;
        }
    }
}

void HAL_GPIO_EXTI_Callback(uint16_t GPIO_Pin)
{
    //    if(GPIO_Pin == ICM_INT_Pin){
    //        inv_device_t* device;
    //        int rc = 0;
    //
    //        device = inv_device_icm20948_get_base(&imu);
    //
    //        rc = inv_device_poll(device);
    //        check_rc(rc);
    //    }
}

static void msgPrinter(int level, const char * str, va_list ap){
    vprintf(str, ap);
    printf("\r\n");
}

static VL53L1X_ERROR initVL53L1X(void){
    uint8_t sensorState=0;
    VL53L1X_ERROR status=VL53L1_ERROR_NONE;

    status = VL53L1X_BootState(vl53l1xDev, &sensorState);

    HAL_Delay(2);

    if(status == VL53L1_ERROR_NONE)
        printf("VL53L1X booted\n");
    else{
        printf("VL53L1X not present!\n");
        return -1;
    }

    status = VL53L1X_SensorInit(vl53l1xDev);
    if(status == VL53L1_ERROR_NONE)
        printf("VL53L1X initialized\n");
    else{
        printf("VL53L1X not present!\n");
        return -1;
    }
    status = VL53L1X_SetDistanceMode(vl53l1xDev, distMode);
    status = VL53L1X_SetTimingBudgetInMs(vl53l1xDev, 50);
    status = VL53L1X_SetInterMeasurementInMs(vl53l1xDev, 50);
    status = VL53L1X_SetROI(vl53l1xDev, 6, 6);

    return status;
}

static inv_device_t* initICM20948(void){
    inv_device_t* device;
    int rc = 0;
    int accelFSR = 2;
    int gyroFSR = 250;

    inv_device_icm20948_init2(&imu,
                              get_serif_inst_i2c(),
                              &sensor_listener,
                              dmp3_image,
                              sizeof(dmp3_image));

    device = inv_device_icm20948_get_base(&imu);

    inv_device_icm20948_reset(device);

    rc = inv_device_icm20948_set_sensor_config(&imu,
                                               INV_SENSOR_TYPE_ACCELEROMETER,
                                               INV_DEVICE_ICM20948_CONFIG_FSR,
                                               (const void*)&accelFSR,
                                               0);
    check_rc(rc);

    rc = inv_device_icm20948_set_sensor_config(&imu,
                                               INV_SENSOR_TYPE_GYROSCOPE,
                                               INV_DEVICE_ICM20948_CONFIG_FSR,
                                               (const void*)&gyroFSR,
                                               0);
    check_rc(rc);

    inv_icm20948_set_lowpower_or_highperformance(&(imu.icm20948_states), 1);

    rc  = inv_device_set_sensor_period_us(device, INV_SENSOR_TYPE_ACCELEROMETER, 50000);
    check_rc(rc);
//    rc  = inv_device_set_sensor_period_us(device, INV_SENSOR_TYPE_GYROSCOPE, 50000);
//    check_rc(rc);
    rc  = inv_device_set_sensor_period_us(device, INV_SENSOR_TYPE_MAGNETOMETER, 50000);
    check_rc(rc);
    rc  = inv_device_set_sensor_period_us(device, INV_SENSOR_TYPE_GEOMAG_ROTATION_VECTOR, 50000);
    check_rc(rc);

    rc = inv_device_start_sensor(device, INV_SENSOR_TYPE_ACCELEROMETER);
    check_rc(rc);
//    rc = inv_device_start_sensor(device, INV_SENSOR_TYPE_GYROSCOPE);
//    check_rc(rc);
    rc = inv_device_start_sensor(device, INV_SENSOR_TYPE_MAGNETOMETER);
    check_rc(rc);
    rc = inv_device_start_sensor(device, INV_SENSOR_TYPE_GEOMAG_ROTATION_VECTOR);
    check_rc(rc);

    return device;
}

void check_rc(int rc){
    if(rc == -1) {
        INV_MSG(INV_MSG_LEVEL_INFO, "BAD RC=%d\r\n", rc);
        while(1);
    }
}

static void sensor_event_cb(const inv_sensor_event_t * event, void * arg){
    (void)arg;
    float rx = 0.0;
    float ry = 0.0;
    float rz = 0.0;

    if(event->status == INV_SENSOR_STATUS_DATA_UPDATED){
        switch(INV_SENSOR_ID_TO_TYPE(event->sensor)){
        case INV_SENSOR_TYPE_ROTATION_VECTOR:
            q[0] = event->data.quaternion.quat[0];
            q[1] = event->data.quaternion.quat[1];
            q[2] = event->data.quaternion.quat[2];
            q[3] = event->data.quaternion.quat[3];
            aQ = event->data.quaternion.accuracy;
        case INV_SENSOR_TYPE_ACCELEROMETER:
            aA = event->data.acc.accuracy_flag;
            if(aA == 3){
                a[0] = event->data.acc.vect[0];
                a[1] = event->data.acc.vect[1];
                a[2] = event->data.acc.vect[2];
            }
//        case INV_SENSOR_TYPE_GYROSCOPE:
//            aG = event->data.gyr.accuracy_flag;
//            if(aG == 3){
//                g[0] = event->data.gyr.vect[0];
//                g[1] = event->data.gyr.vect[1];
//                g[2] = event->data.gyr.vect[2];
//            }
        case INV_SENSOR_TYPE_MAGNETOMETER:
            aM = event->data.mag.accuracy_flag;
            if(aM == 3){
                m[0] = event->data.mag.vect[0];
                m[1] = event->data.mag.vect[1];
                m[2] = event->data.mag.vect[2];
            }
            break;
        }

        rx = pow(q[0],2)+pow(q[1],2)-pow(q[2],2)-pow(q[3],2);
        ry = 2*((q[0]*q[3])+(q[1]*q[2]));
        rz = 2*((q[1]*q[3])-(q[0]*q[2]));

        theta = atan2(sqrt(pow(rx,2)+pow(ry,2)),rz);
        phi = atan2(ry,rx);

        thetaRel = theta - thetaZero;
        phiRel = phi - phiZero;

        if(thetaRel <= 0)
            angToDAC[THETA_IDX] = DAC_MAX;
        else if(thetaRel >= M_PI)
            angToDAC[THETA_IDX] = 0;
        else
            angToDAC[THETA_IDX] = (M_PI-thetaRel)*DAC_MAX*M_1_PI;

        if(phiRel <= -M_PI)
            angToDAC[PHI_IDX] = 0;
        else if(phiRel >= M_PI)
            angToDAC[PHI_IDX] = DAC_MAX;
        else
            angToDAC[PHI_IDX] = (phiRel+(M_PI))*0.5*M_1_PI*DAC_MAX;

        angToLCD[THETA_IDX] = thetaRel*180*M_1_PI;
        angToLCD[PHI_IDX] = phiRel*180*M_1_PI;
    }
}

/* USER CODE END 4 */

void Error_Handler(void)
{
    __disable_irq();
    while (1)
    {
    }
}
